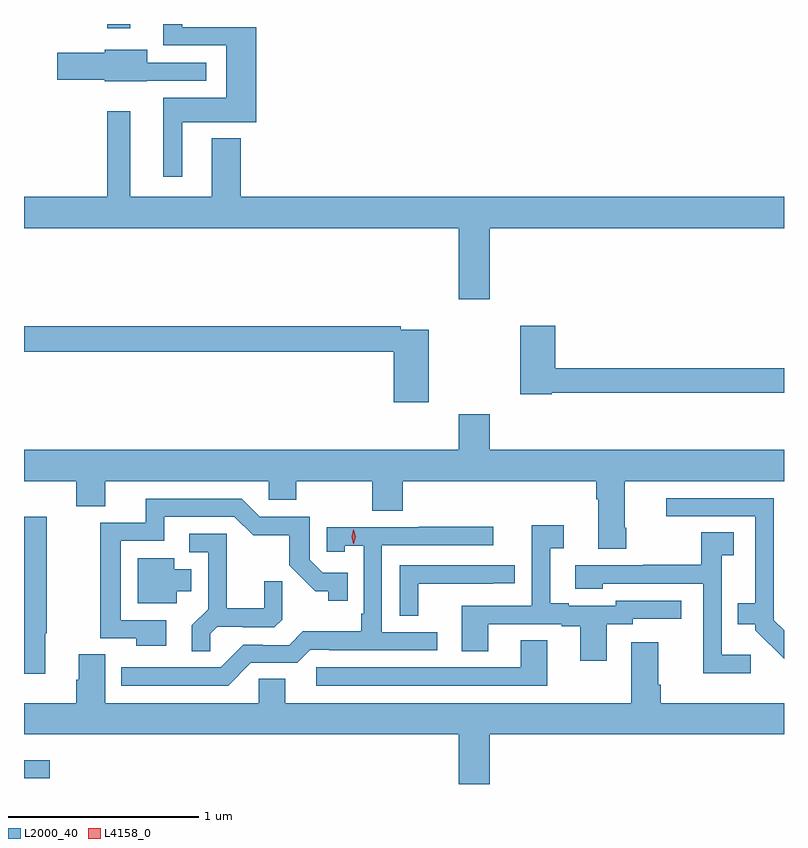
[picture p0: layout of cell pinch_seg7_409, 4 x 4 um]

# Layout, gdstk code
import gdstk
lib = gdstk.Library(unit=1e-6, precision=1e-09)
def R(c, l, rs):  # rectangles x0, y0, x1, y1
    for r in rs: c.add(gdstk.rectangle(r[:2], r[2:], *l))
def P(c, l, *ps):  # polygons
    for p in ps: c.add(gdstk.Polygon(p, *l))
L2000_40 = (2000, 40)
L4158_0 = (4158, 0)

pinch_seg7_409 = lib.new_cell('pinch_seg7_409')
R(pinch_seg7_409, L2000_40, [(534.348,1001.715,534.484,1001.812), (534.786,1005.663,534.907,1005.686)])
P(pinch_seg7_409, L2000_40, [(535.18,1005.17),(535.571,1005.17),(535.571,1005.669),(535.18,1005.669),(535.18,1005.686),(535.082,1005.686),(535.082,1005.573),(535.412,1005.573),(535.412,1005.298),(535.082,1005.298),(535.082,1004.883),(535.18,1004.883)],
  [(534.993,1005.387),(535.306,1005.387),(535.306,1005.483),(534.997,1005.483),(534.997,1005.55),(534.774,1005.55),(534.774,1005.534),(534.522,1005.534),(534.522,1005.392),(534.774,1005.392),(534.774,1005.386),(534.993,1005.386)],
  [(536.8,1004.612),(538.348,1004.612),(538.348,1004.776),(535.49,1004.776),(535.49,1005.085),(535.337,1005.085),(535.337,1004.776),(534.907,1004.776),(534.907,1005.226),(534.786,1005.226),(534.786,1004.776),(534.348,1004.776),(534.348,1004.612),(536.636,1004.612),(536.636,1004.238),(536.8,1004.238)],
  [(537.126,1003.746),(538.348,1003.746),(538.348,1003.874),(537.143,1003.874),(537.143,1004.098),(536.96,1004.098),(536.96,1003.738),(537.126,1003.738)],
  [(536.477,1004.076),(536.33,1004.076),(536.33,1004.096),(534.348,1004.096),(534.348,1003.96),(536.294,1003.96),(536.294,1003.695),(536.477,1003.695)],
  [(537.519,1003.036),(537.511,1003.036),(537.511,1003.28),(538.348,1003.28),(538.348,1003.444),(536.8,1003.444),(536.8,1003.633),(536.636,1003.633),(536.636,1003.444),(534.348,1003.444),(534.348,1003.28),(534.623,1003.28),(534.623,1003.147),(534.775,1003.147),(534.775,1003.28),(535.635,1003.28),(535.635,1003.182),(535.782,1003.182),(535.782,1003.28),(536.182,1003.28),(536.182,1003.123),(536.342,1003.123),(536.342,1003.28),(537.359,1003.28),(537.359,1003.184),(537.371,1003.184),(537.371,1002.924),(537.519,1002.924)],
  [(538.348,1002.494),(538.293,1002.549),(538.293,1003.191),(537.729,1003.191),(537.729,1003.095),(538.196,1003.095),(538.196,1002.637),(538.105,1002.637),(538.105,1002.527),(538.197,1002.527),(538.197,1002.495),(538.348,1002.344)],
  [(535.096,1002.549),(534.858,1002.549),(534.858,1002.966),(535.087,1002.966),(535.087,1003.092),(535.455,1003.092),(535.554,1002.994),(535.743,1002.994),(535.743,1002.838),(535.88,1002.701),(535.95,1002.701),(535.95,1002.651),(536.051,1002.651),(536.051,1002.798),(535.92,1002.798),(535.851,1002.867),(535.851,1003.092),(535.59,1003.092),(535.494,1003.188),(534.989,1003.188),(534.989,1003.062),(534.75,1003.062),(534.75,1002.453),(534.94,1002.453),(534.94,1002.413),(535.096,1002.413)],
  [(534.46,1002.479),(534.468,1002.479),(534.468,1003.093),(534.348,1003.093),(534.348,1002.267),(534.46,1002.267)],
  [(537.415,1002.528),(537.552,1002.528),(537.552,1002.555),(537.808,1002.555),(537.808,1002.651),(537.462,1002.651),(537.462,1002.624),(537.214,1002.624),(537.214,1002.637),(537.118,1002.637),(537.118,1002.928),(537.19,1002.928),(537.19,1003.048),(537.021,1003.048),(537.021,1002.624),(536.651,1002.624),(536.651,1002.385),(536.791,1002.385),(536.791,1002.528),(537.179,1002.528),(537.179,1002.516),(537.275,1002.516),(537.275,1002.336),(537.415,1002.336)],
  [(535.542,1002.324),(535.785,1002.324),(535.854,1002.393),(535.954,1002.393),(535.954,1002.39),(536.524,1002.39),(536.524,1002.486),(536.232,1002.486),(536.232,1002.942),(536.818,1002.942),(536.818,1003.041),(536.425,1003.041),(536.425,1003.038),(535.941,1003.038),(535.941,1002.909),(536.037,1002.909),(536.037,1002.941),(536.136,1002.941),(536.136,1002.583),(536.124,1002.583),(536.124,1002.49),(535.816,1002.49),(535.743,1002.417),(535.604,1002.417),(535.604,1002.42),(535.503,1002.42),(535.383,1002.3),(534.86,1002.3),(534.86,1002.204),(535.422,1002.204)],
  [(538.174,1002.367),(538.02,1002.367),(538.02,1002.889),(538.084,1002.889),(538.084,1003.01),(537.912,1003.01),(537.912,1002.84),(537.607,1002.84),(537.607,1002.837),(537.249,1002.837),(537.249,1002.713),(537.393,1002.713),(537.393,1002.741),(537.924,1002.741),(537.924,1002.509),(537.922,1002.509),(537.922,1002.269),(538.174,1002.269)],
  [(535.329,1002.476),(535.366,1002.513),(535.5,1002.513),(535.5,1002.51),(535.665,1002.51),(535.706,1002.551),(535.706,1002.753),(535.612,1002.753),(535.612,1002.61),(535.415,1002.61),(535.415,1003.002),(535.218,1003.002),(535.218,1002.906),(535.317,1002.906),(535.317,1002.607),(535.231,1002.521),(535.231,1002.385),(535.329,1002.385)],
  [(535.153,1002.701),(535.228,1002.701),(535.228,1002.817),(535.138,1002.817),(535.138,1002.874),(534.947,1002.874),(534.947,1002.638),(535.153,1002.638)],
  [(536.424,1002.741),(536.819,1002.741),(536.819,1002.742),(536.932,1002.742),(536.932,1002.837),(536.325,1002.837),(536.325,1002.571),(536.424,1002.571)],
  [(537.103,1002.443),(536.963,1002.443),(536.963,1002.3),(535.887,1002.3),(535.887,1002.204),(537.103,1002.204)],
  [(535.584,1002.239),(535.584,1002.112),(534.775,1002.112),(534.775,1002.368),(534.635,1002.368),(534.635,1002.234),(534.623,1002.234),(534.623,1002.112),(534.348,1002.112),(534.348,1001.948),(536.636,1001.948),(536.636,1001.686),(536.8,1001.686),(536.8,1001.948),(538.348,1001.948),(538.348,1002.112),(537.698,1002.112),(537.698,1002.208),(537.685,1002.208),(537.685,1002.433),(537.545,1002.433),(537.545,1002.112),(535.723,1002.112),(535.723,1002.239)])
P(pinch_seg7_409, L4158_0, [(536.082,1002.951),(536.073,1002.987),(536.082,1003.023),(536.083,1003.023),(536.083,1003.023),(536.093,1002.987),(536.083,1002.951),(536.083,1002.951)])

lib.write_gds('pinch_seg7_409.gds')
